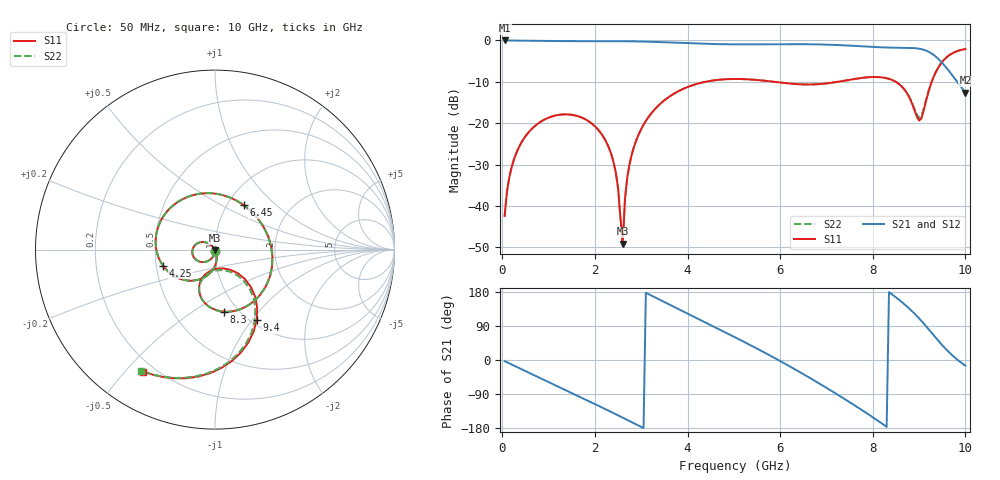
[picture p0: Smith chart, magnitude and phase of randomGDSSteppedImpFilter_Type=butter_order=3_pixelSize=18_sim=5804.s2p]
! freq	dB(S11)	phase(S11)	dB(S12)	phase(S12)
!  dB(S21)	phase(S21)	dB(S22)	phase(S22)
!S-par simulation data
#  GHz  S  DB  R 50
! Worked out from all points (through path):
!   200 points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, 50 MHz to 10 GHz, reference 50 ohm
!   highest |S21| = -0.01 dB at 50 MHz (marker M1); lowest = -12.6 dB at 10 GHz (marker M2)
!   group delay of S21, straight-line fit = 192 ps
!   lowest |S11| = -49.1 dB at 2.6 GHz (marker M3), VSWR 1.01, Z = 49.9 - j0.33 ohm
!   |S11| at or under -10 dB: start of sweep to 4.385 GHz; 5.873 GHz to 7.244 GHz (1.371 GHz wide, 20.9 % of centre); 8.495 GHz to 9.274 GHz (779.2 MHz wide, 8.77 % of centre)
!   |S22| runs from -49.7 to -2.1 dB; largest |S21 - S12| = 0
!   S11 on the Smith chart (normalised r, x): 50 MHz: 1.00, -0.02; 4.25 GHz: 0.54, -0.11; 6.45 GHz: 1.19, +0.65; 8.3 GHz: 0.86, -0.68; 9.4 GHz: 1.07, -1.05; 10 GHz: 0.16, -0.56
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0.05  -42.44 -89.8  -0.01 -3.0  -0.01 -3.0  -42.44 -89.8
0.2  -30.70 -100.9  -0.03 -11.8  -0.03 -11.8  -30.70 -100.9
0.55  -22.44 -122.3  -0.07 -32.2  -0.07 -32.2  -22.44 -122.3
1.15  -18.14 -157.2  -0.15 -66.8  -0.15 -66.8  -18.14 -157.3
1.75  -18.82 168.2  -0.18 -101.6  -0.18 -101.6  -18.82 168.0
2.35  -27.39 134.3  -0.18 -137.0  -0.18 -137.0  -27.39 133.6
2.5  -35.64 129.0  -0.19 -146.1  -0.19 -146.1  -35.65 127.4
2.6  -49.15 -108.3  -0.19 -152.1  -0.19 -152.1  -49.72 -104.4
2.65  -38.16 -74.4  -0.20 -155.2  -0.20 -155.2  -38.22 -72.4
2.8  -27.38 -77.4  -0.22 -164.3  -0.22 -164.3  -27.39 -76.9
3.4  -15.43 -112.1  -0.40 158.9  -0.40 158.9  -15.43 -112.1
4.25  -10.35 -163.0  -0.77 107.2  -0.77 107.2  -10.36 -163.3
5.05  -9.31 148.8  -0.94 58.5  -0.94 58.5  -9.32 148.2
5.8  -9.91 101.4  -0.91 10.6  -0.91 10.6  -9.91 100.2
6.45  -10.61 57.3  -0.90 -33.7  -0.90 -33.7  -10.61 55.6
6.7  -10.63 39.7  -0.93 -51.5  -0.93 -51.5  -10.64 37.8
7.45  -9.61 -15.8  -1.23 -107.4  -1.23 -107.4  -9.61 -17.4
8.3  -9.14 -81.7  -1.71 -176.4  -1.71 -176.4  -9.12 -82.2
8.35  -9.29 -85.6  -1.73 179.1  -1.73 179.1  -9.27 -86.1
9  -19.39 -85.7  -1.99 110.0  -1.99 110.0  -18.73 -85.7
9.4  -6.84 -59.3  -4.30 53.0  -4.30 53.0  -6.78 -61.2
10  -2.06 -120.5  -12.62 -15.0  -12.62 -15.0  -2.05 -121.4
